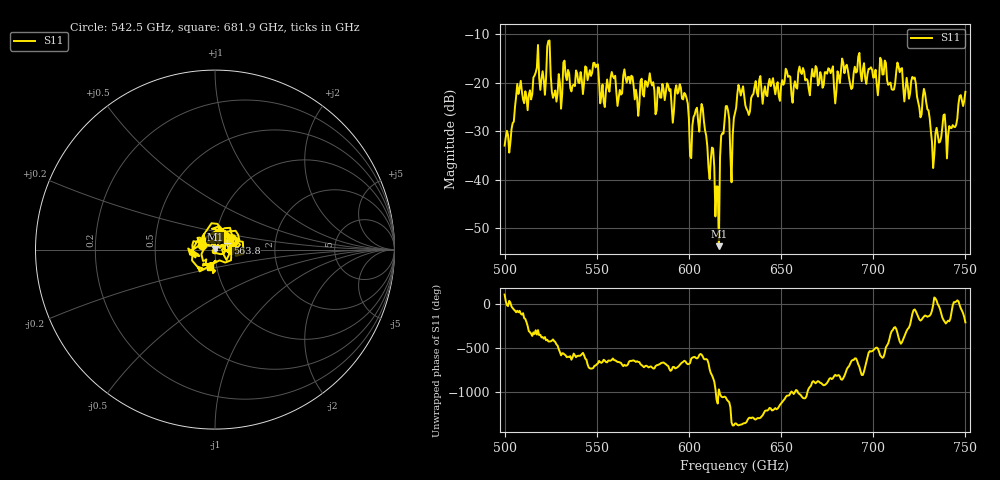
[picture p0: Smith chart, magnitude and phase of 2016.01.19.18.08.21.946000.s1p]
!Created with skrf (http://scikit-rf.org).
# GHz S RI R 50.0
!freq ReS11 ImS11
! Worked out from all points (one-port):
!   401 points, 500 GHz to 750 GHz, reference 50 ohm
!   lowest |S11| = -53.7 dB at 616.2 GHz (marker M1), VSWR 1.00, Z = 49.9 + j0.196 ohm
!   |S11| at or under -10 dB: start of sweep to end of sweep
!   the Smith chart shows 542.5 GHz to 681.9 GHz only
!   S11 on the Smith chart (normalised r, x): 542.5 GHz: 0.86, +0.04; 563.8 GHz: 1.15, +0.08; 681.9 GHz: 0.93, -0.18
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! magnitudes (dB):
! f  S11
! 500 GHz  -32.9
! 516.9 GHz  -17.8
! 531.2 GHz  -22.3
! 542.5 GHz  -22.3
! 549.4 GHz  -16.8
! 553.1 GHz  -20.3
! 558.8 GHz  -18.6
! 562.5 GHz  -21.5
! 563.8 GHz  -22.2
! 593.8 GHz  -22.2
! 601.2 GHz  -35.5
! 607.5 GHz  -25.2
! 615 GHz  -41.3
! 616.2 GHz  -53.7
! 619.4 GHz  -27.5
! 623.1 GHz  -40.5
! 625 GHz  -26.2
! 628.1 GHz  -22.6
! 631.9 GHz  -25.8
! 637.5 GHz  -22.8
! 656.2 GHz  -24.1
! 681.9 GHz  -20.0
! 687.5 GHz  -20.3
! 714.4 GHz  -17.8
! 718.8 GHz  -20.7
! 728.1 GHz  -22.2
! 732.5 GHz  -37.6
! 750 GHz  -21.8
